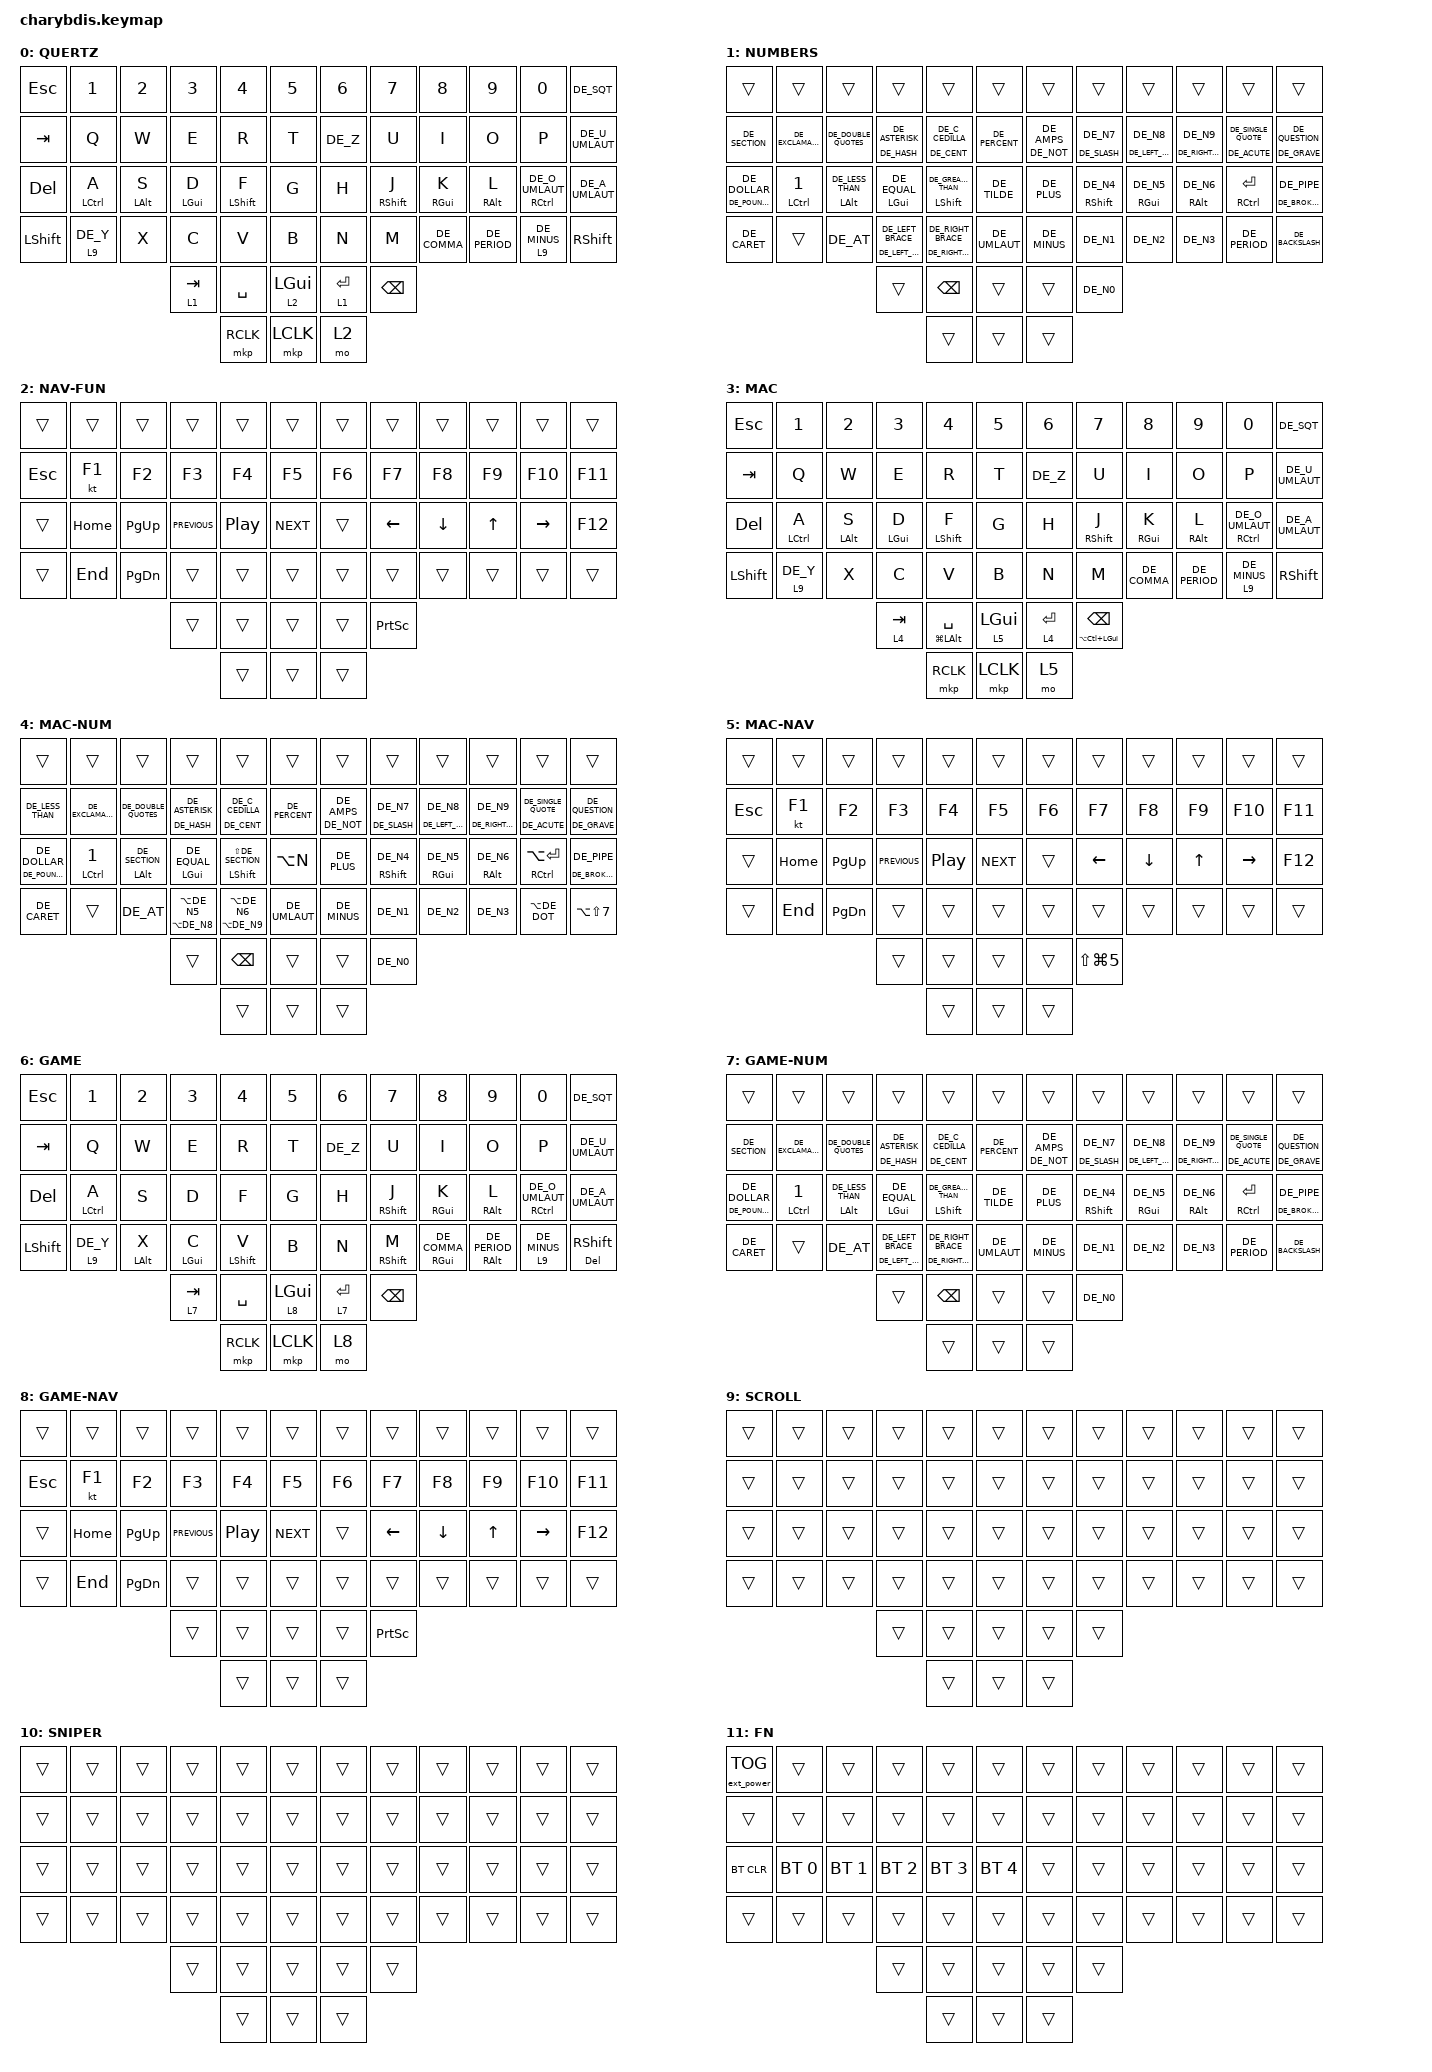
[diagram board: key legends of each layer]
#include <dt-bindings/zmk/mouse.h>
#include <behaviors/mouse_keys.dtsi>
#include <behaviors.dtsi>
#include <dt-bindings/zmk/bt.h>
#include <dt-bindings/zmk/ext_power.h>
#include <dt-bindings/zmk/keys.h>
#include <dt-bindings/zmk/pointing.h>

// OS設定を日本語キーボードのまま使用するための変換定義
#define JP_DQUOTE       AT                // "
#define JP_AMPERSAND    CARET             // &
#define JP_QUOTE        AMPERSAND         // '
#define JP_EQUAL        UNDER             // =
#define JP_CARET        EQUAL             // ^
#define JP_YEN          0x89              // ¥
#define JP_PLUS         COLON             // +
#define JP_TILDE        PLUS              // ~
#define JP_PIPE         LS(0x89)          // |
#define JP_AT           LEFT_BRACKET      // @
#define JP_COLON        SINGLE_QUOTE      // :
#define JP_ASTERISK     DOUBLE_QUOTES     // *
#define JP_BACKQUOTE    LEFT_BRACE        // `
#define JP_UNDERSCORE   LS(0x87)          // _
#define JP_LBRACKET     RIGHT_BRACKET     // [
#define JP_RBRACKET     BACKSLASH         // ]
#define JP_LPAREN       ASTERISK          // (
#define JP_RPAREN       LEFT_PARENTHESIS  // )
#define JP_LBRACE       RIGHT_BRACE       // {
#define JP_RBRACE       PIPE              // }
#define JP_KANA         LANGUAGE_1        // かな
#define JP_EISU         LANGUAGE_2        // 英数
#define JP_HANZEN       GRAVE             // 半角/全角

// / {
//     chosen { zmk,matrix_transform = &default_transform; };
// };

/ {
    /* input config for mouse move mode */

    trackball_listener {
        compatible = "zmk,input-behavior-listener";
        device = <&vtrackball>;
        layers = <0 3 6>;
        evt-type = <INPUT_EV_REL>;
        x-input-code = <INPUT_REL_X>;
        y-input-code = <INPUT_REL_Y>;
        scale-multiplier = <1>;
        scale-divisor = <2>;

        // bindings = <&ib_toggle_layer 7>;
    };

    /* input config for snipe mode */

    trackball_snipe_listener {
        compatible = "zmk,input-behavior-listener";
        device = <&vtrackball>;
        layers = <10>;
        evt-type = <INPUT_EV_REL>;
        x-input-code = <INPUT_REL_X>;
        y-input-code = <INPUT_REL_Y>;
        scale-multiplier = <1>;
        scale-divisor = <4>;
    };

    /* input config for mouse scroll mode */

    trackball_scroll_listener {
        compatible = "zmk,input-behavior-listener";
        device = <&vtrackball>;
        layers = <9>;
        evt-type = <INPUT_EV_REL>;
        x-input-code = <INPUT_REL_MISC>;
        y-input-code = <INPUT_REL_WHEEL>;
        y-invert;
        bindings = <&ib_wheel_scaler 1 14>;
    };

    /* define a resolution down scaler only for INPUT_REL_WHEEL */

    ib_wheel_scaler: ib_wheel_scaler {
        compatible = "zmk,input-behavior-scaler";
        #binding-cells = <2>;
        evt-type = <INPUT_EV_REL>;
        input-code = <INPUT_REL_WHEEL>;
    };

    /* adjust cooldown waiting period for mouse key layer after activated */

    ib_toggle_layer: ib_toggle_layer {
        compatible = "zmk,input-behavior-tog-layer";
        #binding-cells = <1>;
        time-to-live-ms = <750>;
    };

    // #define QUERTZ    0
    // #define NUMBERS   1
    // #define NAV-FUN   2
    // #define MAC       3
    // #define MAC-NUM   4
    // #define MAC-NAV   5
    // #define GAME      6
    // #define GAME-NUM  7
    // #define GAME-NAV  8
    // #define SCROLL    9
    // #define SNIPER   10
    // #define FN       11

    combos {
        compatible = "zmk,combos";

        to-WIN {
            bindings = <&to 0>;
            key-positions = <50 51>;
            layers = <3 6 11>;
        };

        to-MAC {
            bindings = <&to 3>;
            key-positions = <50 51>;
            layers = <0 6 11>;
        };

        to-GAME {
            bindings = <&to 6>;
            key-positions = <47 36>;
            layers = <0 3 11>;
        };

        to-FN {
            bindings = <&to 11>;
            key-positions = <41 42>;
            layers = <0 3 6>;
        };

        caps_word {
            bindings = <&caps_word>;
            key-positions = <31 28>;
        };

        rh_leftClick {
            bindings = <&mkp LCLK>;
            key-positions = <43 44>;
        };

        rh_rightClick {
            bindings = <&mkp RCLK>;
            key-positions = <44 45>;
        };

        rh_middleClick {
            bindings = <&mkp MCLK>;
            key-positions = <44 45 43>;
        };

        lh_leftClick {
            bindings = <&mkp LCLK>;
            key-positions = <40 39>;
        };

        lh_rightClick {
            bindings = <&mkp RCLK>;
            key-positions = <38 39>;
        };

        lh_middleClick {
            bindings = <&mkp MCLK>;
            key-positions = <38 39 40>;
        };

        CAPZ {
            bindings = <&kp CAPSLOCK>;
            key-positions = <24 25>;
        };
    };

    behaviors {
        hmr: hmr {
            compatible = "zmk,behavior-hold-tap";
            label = "HMR";
            bindings = <&kp>, <&kp>;

            #binding-cells = <2>;
            tapping-term-ms = <190>;
            quick-tap-ms = <175>;
            flavor = "balanced";
            hold-trigger-key-positions = <0 1 2 3 4 5 12 13 14 15 16 17 24 25 26 27 28 29 36 37 38 39 40 41 48 49 50 53 54 51 52 55>;
            hold-trigger-on-release;
        };

        hml: hml {
            compatible = "zmk,behavior-hold-tap";
            label = "HML";
            bindings = <&kp>, <&kp>;

            #binding-cells = <2>;
            tapping-term-ms = <190>;
            quick-tap-ms = <175>;
            flavor = "balanced";
            hold-trigger-key-positions = <48 49 50 53 54 51 52 55 6 7 8 9 10 11 18 19 20 21 22 23 30 31 32 33 34 35 42 43 44 45 46 47 51 52>;
            hold-trigger-on-release;
        };
    };

    keymap {
        compatible = "zmk,keymap";

        default_win_layer {
            bindings = <
&kp ESCAPE      &kp N1               &kp N2           &kp N3           &kp N4             &kp N5            &kp N6       &kp N7              &kp N8            &kp N9            &kp N0                          &kp DE_SQT
&kp TAB         &kp Q                &kp W            &kp E            &kp R              &kp T             &kp DE_Z     &kp U               &kp I             &kp O             &kp P                           &kp DE_U_UMLAUT
&kp DELETE      &hml LEFT_CONTROL A  &hml LEFT_ALT S  &hml LEFT_GUI D  &hml LEFT_SHIFT F  &kp G             &kp H        &hmr RIGHT_SHIFT J  &hmr RIGHT_GUI K  &hmr RIGHT_ALT L  &hmr RIGHT_CONTROL DE_O_UMLAUT  &kp DE_A_UMLAUT
&kp LEFT_SHIFT  &lt 9 DE_Y           &kp X            &kp C            &kp V              &kp B             &kp N        &kp M               &kp DE_COMMA      &kp DE_PERIOD     &lt 9 DE_MINUS                  &kp RSHIFT
                                                      &lt 1 TAB        &kp SPACE          &lt 2 LEFT_GUI    &lt 1 ENTER  &kp BACKSPACE
                                                                       &mkp RCLK          &mkp LCLK         &mo 2
            >;

            label = "QUERTZ";
        };

        win_raise_layer {
            bindings = <
&trans                        &trans                &trans                      &trans                              &trans                                &trans            &trans               &trans                  &trans                          &trans                           &trans                         &trans
&kp DE_SECTION                &kp DE_EXCLAMATION    &kp DE_DOUBLE_QUOTES        &hml DE_HASH DE_ASTERISK            &hml DE_CENT DE_C_CEDILLA             &kp DE_PERCENT    &hmr DE_NOT DE_AMPS  &hmr DE_SLASH DE_N7     &hmr DE_LEFT_PARENTHESIS DE_N8  &hmr DE_RIGHT_PARENTHESIS DE_N9  &hmr DE_ACUTE DE_SINGLE_QUOTE  &hmr DE_GRAVE DE_QUESTION
&hml DE_POUND_SIGN DE_DOLLAR  &hml LEFT_CONTROL N1  &hml LEFT_ALT DE_LESS_THAN  &hml LEFT_GUI DE_EQUAL              &hml LEFT_SHIFT DE_GREATER_THAN       &kp DE_TILDE      &kp DE_PLUS          &hmr RIGHT_SHIFT DE_N4  &hmr RIGHT_GUI DE_N5            &hmr RIGHT_ALT DE_N6             &hmr RIGHT_CONTROL ENTER       &hmr DE_BROKEN_BAR DE_PIPE
&kp DE_CARET                  &trans                &kp DE_AT                   &hml DE_LEFT_BRACKET DE_LEFT_BRACE  &hml DE_RIGHT_BRACKET DE_RIGHT_BRACE  &kp DE_UMLAUT     &kp DE_MINUS         &kp DE_N1               &kp DE_N2                       &kp DE_N3                        &kp DE_PERIOD                  &kp DE_BACKSLASH
                                                                                &trans                              &kp BACKSPACE                         &trans            &trans               &kp DE_N0
                                                                                                                    &trans                                &trans            &trans
            >;

            label = "NUMBERS";
        };

        win_lower_layer {
            bindings = <
&trans      &trans    &trans         &trans          &trans            &trans        &trans  &trans           &trans          &trans        &trans           &trans
&kp ESCAPE  &kt F1    &kp F2         &kp F3          &kp F4            &kp F5        &kp F6  &kp F7           &kp F8          &kp F9        &kp F10          &kp F11
&trans      &kp HOME  &kp PAGE_UP    &kp C_PREVIOUS  &kp C_PLAY_PAUSE  &kp C_NEXT    &trans  &kp LEFT_ARROW   &kp DOWN_ARROW  &kp UP_ARROW  &kp RIGHT_ARROW  &kp F12
&trans      &kp END   &kp PAGE_DOWN  &trans          &trans            &trans        &trans  &trans           &trans          &trans        &trans           &trans
                                     &trans          &trans            &trans        &trans  &kp PRINTSCREEN
                                                     &trans            &trans        &trans
            >;

            label = "NAV-FUN";
        };

        default_mac_layer {
            label = "MAC";
            bindings = <
&kp ESCAPE      &kp N1               &kp N2           &kp N3           &kp N4                   &kp N5            &kp N6       &kp N7                           &kp N8            &kp N9            &kp N0                          &kp DE_SQT
&kp TAB         &kp Q                &kp W            &kp E            &kp R                    &kp T             &kp DE_Z     &kp U                            &kp I             &kp O             &kp P                           &kp DE_U_UMLAUT
&kp DELETE      &hml LEFT_CONTROL A  &hml LEFT_ALT S  &hml LEFT_GUI D  &hml LEFT_SHIFT F        &kp G             &kp H        &hmr RIGHT_SHIFT J               &hmr RIGHT_GUI K  &hmr RIGHT_ALT L  &hmr RIGHT_CONTROL DE_O_UMLAUT  &kp DE_A_UMLAUT
&kp LEFT_SHIFT  &lt 9 DE_Y           &kp X            &kp C            &kp V                    &kp B             &kp N        &kp M                            &kp DE_COMMA      &kp DE_PERIOD     &lt 9 DE_MINUS                  &kp RSHIFT
                                                      &lt 4 TAB        &hml LG(LEFT_ALT) SPACE  &lt 5 LEFT_GUI    &lt 4 ENTER  &hmr LA(LC(LEFT_GUI)) BACKSPACE
                                                                       &mkp RCLK                &mkp LCLK         &mo 5
            >;
        };

        mac_raise_layer {
            label = "MAC-NUM";
            bindings = <
&trans                        &trans                &trans                    &trans                    &trans                          &trans            &trans               &trans                  &trans                          &trans                           &trans                         &trans
&kp DE_LESS_THAN              &kp DE_EXCLAMATION    &kp DE_DOUBLE_QUOTES      &hml DE_HASH DE_ASTERISK  &hml DE_CENT DE_C_CEDILLA       &kp DE_PERCENT    &hmr DE_NOT DE_AMPS  &hmr DE_SLASH DE_N7     &hmr DE_LEFT_PARENTHESIS DE_N8  &hmr DE_RIGHT_PARENTHESIS DE_N9  &hmr DE_ACUTE DE_SINGLE_QUOTE  &hmr DE_GRAVE DE_QUESTION
&hml DE_POUND_SIGN DE_DOLLAR  &hml LEFT_CONTROL N1  &hml LEFT_ALT DE_SECTION  &hml LEFT_GUI DE_EQUAL    &hml LEFT_SHIFT LS(DE_SECTION)  &kp LA(N)         &kp DE_PLUS          &hmr RIGHT_SHIFT DE_N4  &hmr RIGHT_GUI DE_N5            &hmr RIGHT_ALT DE_N6             &hmr RIGHT_CONTROL LA(RETURN)  &hmr DE_BROKEN_BAR DE_PIPE
&kp DE_CARET                  &trans                &kp DE_AT                 &hml LA(DE_N8) LA(DE_N5)  &hml LA(DE_N9) LA(DE_N6)        &kp DE_UMLAUT     &kp DE_MINUS         &kp DE_N1               &kp DE_N2                       &kp DE_N3                        &kp LA(DE_DOT)                 &kp LA(LS(NUMBER_7))
                                                                              &trans                    &kp BACKSPACE                   &trans            &trans               &kp DE_N0
                                                                                                        &trans                          &trans            &trans
            >;
        };

        mac_lower_layer {
            label = "MAC-NAV";
            bindings = <
&trans      &trans    &trans         &trans          &trans            &trans        &trans  &trans                &trans          &trans        &trans           &trans
&kp ESCAPE  &kt F1    &kp F2         &kp F3          &kp F4            &kp F5        &kp F6  &kp F7                &kp F8          &kp F9        &kp F10          &kp F11
&trans      &kp HOME  &kp PAGE_UP    &kp C_PREVIOUS  &kp C_PLAY_PAUSE  &kp C_NEXT    &trans  &kp LEFT_ARROW        &kp DOWN_ARROW  &kp UP_ARROW  &kp RIGHT_ARROW  &kp F12
&trans      &kp END   &kp PAGE_DOWN  &trans          &trans            &trans        &trans  &trans                &trans          &trans        &trans           &trans
                                     &trans          &trans            &trans        &trans  &kp LS(LG(NUMBER_5))
                                                     &trans            &trans        &trans
            >;
        };

        default_game_layer {
            label = "GAME";
            bindings = <
&kp ESCAPE      &kp N1               &kp N2           &kp N3           &kp N4             &kp N5            &kp N6       &kp N7              &kp N8                   &kp N9                    &kp N0                          &kp DE_SQT
&kp TAB         &kp Q                &kp W            &kp E            &kp R              &kp T             &kp DE_Z     &kp U               &kp I                    &kp O                     &kp P                           &kp DE_U_UMLAUT
&kp DELETE      &hml LEFT_CONTROL A  &kp S            &kp D            &kp F              &kp G             &kp H        &hmr RIGHT_SHIFT J  &hmr RIGHT_GUI K         &hmr RIGHT_ALT L          &hmr RIGHT_CONTROL DE_O_UMLAUT  &kp DE_A_UMLAUT
&kp LEFT_SHIFT  &lt 9 DE_Y           &hml LEFT_ALT X  &hml LEFT_GUI C  &hml LEFT_SHIFT V  &kp B             &kp N        &hmr RIGHT_SHIFT M  &hmr RIGHT_GUI DE_COMMA  &hmr RIGHT_ALT DE_PERIOD  &lt 9 DE_MINUS                  &hmr DELETE RIGHT_SHIFT
                                                      &lt 7 TAB        &kp SPACE          &lt 8 LEFT_GUI    &lt 7 ENTER  &kp BACKSPACE
                                                                       &mkp RCLK          &mkp LCLK         &mo 8
            >;
        };

        game_raise_layer {
            label = "GAME-NUM";
            bindings = <
&trans                        &trans                &trans                      &trans                              &trans                                &trans            &trans               &trans                  &trans                          &trans                           &trans                         &trans
&kp DE_SECTION                &kp DE_EXCLAMATION    &kp DE_DOUBLE_QUOTES        &hml DE_HASH DE_ASTERISK            &hml DE_CENT DE_C_CEDILLA             &kp DE_PERCENT    &hmr DE_NOT DE_AMPS  &hmr DE_SLASH DE_N7     &hmr DE_LEFT_PARENTHESIS DE_N8  &hmr DE_RIGHT_PARENTHESIS DE_N9  &hmr DE_ACUTE DE_SINGLE_QUOTE  &hmr DE_GRAVE DE_QUESTION
&hml DE_POUND_SIGN DE_DOLLAR  &hml LEFT_CONTROL N1  &hml LEFT_ALT DE_LESS_THAN  &hml LEFT_GUI DE_EQUAL              &hml LEFT_SHIFT DE_GREATER_THAN       &kp DE_TILDE      &kp DE_PLUS          &hmr RIGHT_SHIFT DE_N4  &hmr RIGHT_GUI DE_N5            &hmr RIGHT_ALT DE_N6             &hmr RIGHT_CONTROL ENTER       &hmr DE_BROKEN_BAR DE_PIPE
&kp DE_CARET                  &trans                &kp DE_AT                   &hml DE_LEFT_BRACKET DE_LEFT_BRACE  &hml DE_RIGHT_BRACKET DE_RIGHT_BRACE  &kp DE_UMLAUT     &kp DE_MINUS         &kp DE_N1               &kp DE_N2                       &kp DE_N3                        &kp DE_PERIOD                  &kp DE_BACKSLASH
                                                                                &trans                              &kp BACKSPACE                         &trans            &trans               &kp DE_N0
                                                                                                                    &trans                                &trans            &trans
            >;
        };

        game_lower_layer {
            label = "GAME-NAV";
            bindings = <
&trans      &trans    &trans         &trans          &trans            &trans        &trans  &trans           &trans          &trans        &trans           &trans
&kp ESCAPE  &kt F1    &kp F2         &kp F3          &kp F4            &kp F5        &kp F6  &kp F7           &kp F8          &kp F9        &kp F10          &kp F11
&trans      &kp HOME  &kp PAGE_UP    &kp C_PREVIOUS  &kp C_PLAY_PAUSE  &kp C_NEXT    &trans  &kp LEFT_ARROW   &kp DOWN_ARROW  &kp UP_ARROW  &kp RIGHT_ARROW  &kp F12
&trans      &kp END   &kp PAGE_DOWN  &trans          &trans            &trans        &trans  &trans           &trans          &trans        &trans           &trans
                                     &trans          &trans            &trans        &trans  &kp PRINTSCREEN
                                                     &trans            &trans        &trans
            >;
        };

        scroll_layer {
            bindings = <
&trans  &trans  &trans  &trans  &trans  &trans    &trans  &trans  &trans  &trans  &trans  &trans
&trans  &trans  &trans  &trans  &trans  &trans    &trans  &trans  &trans  &trans  &trans  &trans
&trans  &trans  &trans  &trans  &trans  &trans    &trans  &trans  &trans  &trans  &trans  &trans
&trans  &trans  &trans  &trans  &trans  &trans    &trans  &trans  &trans  &trans  &trans  &trans
                        &trans  &trans  &trans    &trans  &trans
                                &trans  &trans    &trans
            >;

            label = "SCROLL";
        };

        sniper_layer {
            bindings = <
&trans  &trans  &trans  &trans  &trans  &trans    &trans  &trans  &trans  &trans  &trans  &trans
&trans  &trans  &trans  &trans  &trans  &trans    &trans  &trans  &trans  &trans  &trans  &trans
&trans  &trans  &trans  &trans  &trans  &trans    &trans  &trans  &trans  &trans  &trans  &trans
&trans  &trans  &trans  &trans  &trans  &trans    &trans  &trans  &trans  &trans  &trans  &trans
                        &trans  &trans  &trans    &trans  &trans
                                &trans  &trans    &trans
            >;

            label = "SNIPER";
        };

        keeb_pref_layer {
            label = "FN";
            bindings = <
&ext_power EP_TOG  &trans        &trans        &trans        &trans        &trans          &trans  &trans  &trans  &trans  &trans  &trans
&trans             &trans        &trans        &trans        &trans        &trans          &trans  &trans  &trans  &trans  &trans  &trans
&bt BT_CLR         &bt BT_SEL 0  &bt BT_SEL 1  &bt BT_SEL 2  &bt BT_SEL 3  &bt BT_SEL 4    &trans  &trans  &trans  &trans  &trans  &trans
&trans             &trans        &trans        &trans        &trans        &trans          &trans  &trans  &trans  &trans  &trans  &trans
                                               &trans        &trans        &trans          &trans  &trans
                                                             &trans        &trans          &trans
            >;
        };
    };
};
